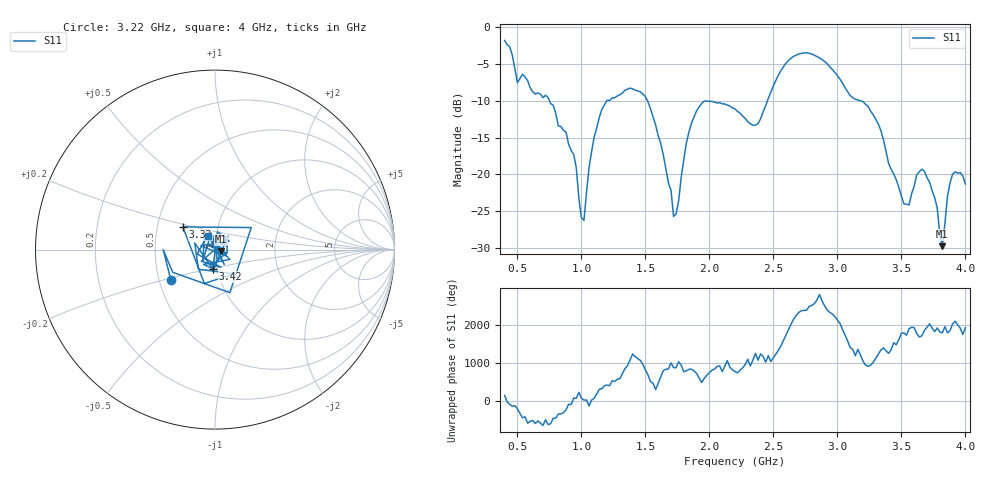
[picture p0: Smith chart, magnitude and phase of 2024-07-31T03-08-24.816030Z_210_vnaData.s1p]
!Created with skrf (http://scikit-rf.org).
# Hz S RI R 50.0
!freq ReS11 ImS11
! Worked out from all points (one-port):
!   181 points, 400 MHz to 4 GHz, reference 50 ohm
!   lowest |S11| = -29.7 dB at 3.82 GHz (marker M1), VSWR 1.07, Z = 53.2 - j0.934 ohm
!   |S11| at or under -10 dB: 750.1 MHz to 1.199 GHz (448.6 MHz wide, 46 % of centre); 1.516 GHz to 2.454 GHz (938 MHz wide, 47.3 % of centre); 3.177 GHz to end of sweep
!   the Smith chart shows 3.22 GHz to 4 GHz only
!   S11 on the Smith chart (normalised r, x): 3.22 GHz: 0.58, -0.21; 3.32 GHz: 0.68, +0.18; 3.42 GHz: 0.95, -0.21; 4 GHz: 0.92, +0.14
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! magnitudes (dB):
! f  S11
! 400 MHz  -1.8
! 500 MHz  -7.6
! 740 MHz  -9.6
! 860 MHz  -14.0
! 940 MHz  -17.3
! 1.02 GHz  -26.2
! 1.06 GHz  -19.1
! 1.14 GHz  -12.3
! 1.3 GHz  -9.2
! 1.5 GHz  -9.4
! 1.62 GHz  -15.8
! 1.72 GHz  -25.7
! 1.76 GHz  -23.5
! 1.82 GHz  -15.7
! 1.9 GHz  -11.4
! 2.2 GHz  -11.1
! 2.38 GHz  -13.1
! 2.66 GHz  -4.0
! 3.1 GHz  -9.3
! 3.22 GHz  -10.5
! 3.32 GHz  -13.2
! 3.42 GHz  -19.3
! 3.56 GHz  -24.2
! 3.68 GHz  -19.6
! 3.78 GHz  -24.6
! 3.82 GHz  -29.7
! 3.9 GHz  -20.0
! 4 GHz  -21.3
